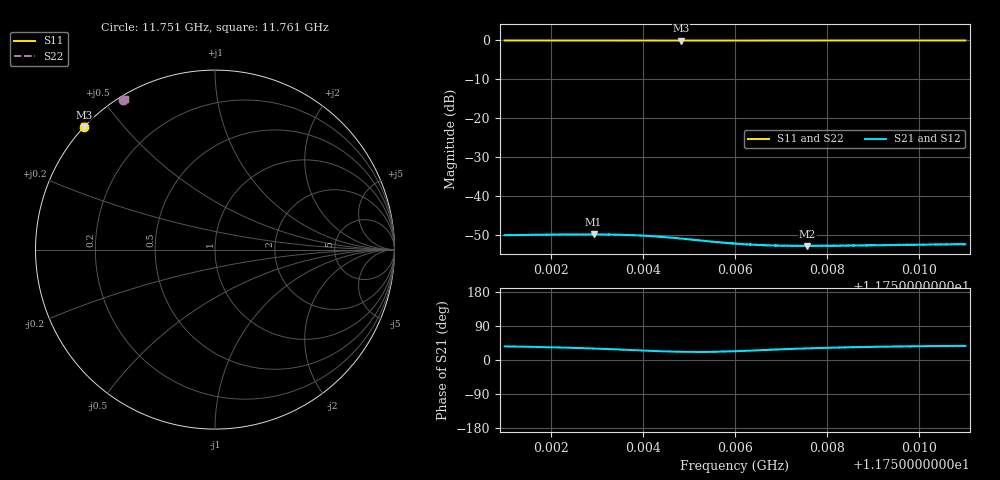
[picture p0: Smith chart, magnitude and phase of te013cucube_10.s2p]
!Keysight Technologies,N5245B,MY49151052,A.14.00.23
!Date: Friday, February 19, 2021 17:57:19
!Correction: S11(C* 2-Port  )
!S21(C* 2-Port  )
!S12(C* 2-Port  )
!S22(C* 2-Port  )
!S2P File: Measurement: :
# Hz S  dB  R 50
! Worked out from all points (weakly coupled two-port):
!   1601 points, 11.751 GHz to 11.761 GHz, reference 50 ohm
!   highest |S21| = -49.72 dB at 11.75293 GHz (marker M1); lowest = -52.8 dB at 11.75757 GHz (marker M2)
!   lowest |S11| = 0.0 dB at 11.75483 GHz (marker M3), VSWR 807.17, Z = 0.0716 + j19.7 ohm
!   |S11| at or under -10 dB: nowhere
!   |S22| runs from -0.2 to -0.2 dB; largest |S21 - S12| = 5.1e-05
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1.1751e10  -0.00 137.0  -50.00 35.9  -49.95 35.8  -0.17 121.6
1.17517e10  -0.00 137.0  -49.83 34.1  -49.85 33.9  -0.17 121.5
1.1752669e10  -0.01 136.9  -49.79 31.4  -49.76 31.0  -0.17 121.5
1.1752931e10  -0.01 136.9  -49.72 30.2  -49.77 30.1  -0.17 121.5
1.1753281e10  -0.01 136.9  -49.83 28.4  -49.84 28.3  -0.17 121.4
1.1753588e10  -0.02 136.9  -49.91 27.1  -49.93 26.8  -0.18 121.4
1.1754025e10  -0.02 136.9  -50.10 24.8  -50.14 24.7  -0.18 121.4
1.1754338e10  -0.02 136.9  -50.30 23.2  -50.37 23.1  -0.18 121.4
1.1754825e10  -0.02 136.9  -50.85 21.6  -50.84 21.6  -0.18 121.3
1.1755588e10  -0.02 136.9  -51.73 21.6  -51.72 21.6  -0.18 121.3
1.1756e10  -0.01 136.9  -52.12 23.4  -52.16 22.8  -0.18 121.3
1.1756131e10  -0.01 136.9  -52.28 23.9  -52.28 23.8  -0.18 121.3
1.1756306e10  -0.01 136.9  -52.34 24.7  -52.38 24.4  -0.18 121.3
1.1756706e10  -0.01 136.9  -52.61 26.4  -52.56 26.0  -0.18 121.2
1.1757038e10  -0.01 136.9  -52.73 28.4  -52.66 28.4  -0.18 121.2
1.1757569e10  -0.00 136.8  -52.80 30.5  -52.66 30.7  -0.18 121.2
1.1757669e10  -0.00 136.8  -52.80 31.3  -52.75 30.1  -0.18 121.2
1.1757931e10  -0.00 136.8  -52.65 32.0  -52.72 31.6  -0.18 121.1
1.175825e10  0.00 136.8  -52.67 33.0  -52.62 32.7  -0.18 121.1
1.1759338e10  0.00 136.7  -52.52 35.3  -52.52 35.0  -0.18 121.0
1.1760262e10  0.01 136.7  -52.40 36.8  -52.40 36.4  -0.17 121.0
1.1761e10  0.01 136.6  -52.32 37.2  -52.28 37.0  -0.17 120.9
